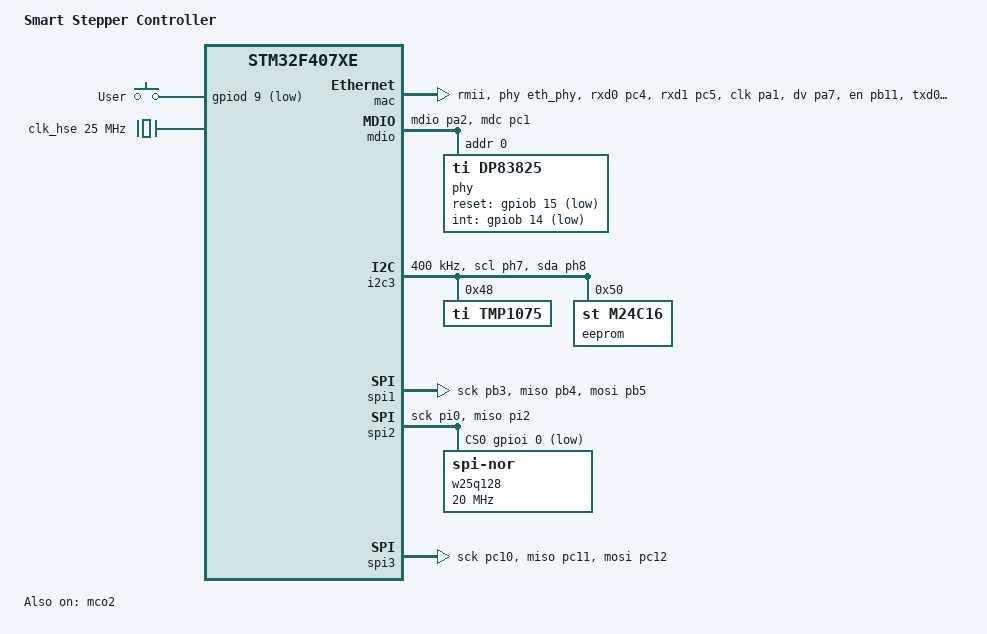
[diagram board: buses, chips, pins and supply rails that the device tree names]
/*
 * Copyright (c) 2021 Nordic Semiconductor ASA
 * SPDX-License-Identifier: Apache-2.0
 */

 /dts-v1/;
 #include <st/f4/stm32f407Xe.dtsi>

/ {
	model = "Smart Stepper Controller";
	compatible = "rubus,smartchopper";

	chosen {
		zephyr,console = &uart0;
		zephyr,sram = &sram0;
		zephyr,flash = &flash0;
		zephyr,ccm = &ccm0;
		// zephyr,canbus = &can1;
	};

	gpio_keys {
		compatible = "gpio-keys";
		user_button: button {
			label = "User";
			gpios = <&gpiod 9 (GPIO_ACTIVE_LOW | GPIO_PULL_UP)>;
			zephyr,code = <INPUT_KEY_0>;
		};
	};

	aliases {
		watchdog0 = &iwdg;
		sw0 = &user_button;
	};
};

&clk_lsi {
	status = "okay";
};

&clk_hse {
	clock-frequency = <DT_FREQ_M(25)>;
	status = "okay";
};

&pll {
	div-m = <25>;
	mul-n = <336>;
	div-p = <2>;
	div-q = <7>;
	clocks = <&clk_hse>;
	status = "okay";
};

&rcc {
	clocks = <&pll>;
	clock-frequency = <DT_FREQ_M(168)>;
	ahb-prescaler = <1>;
	apb1-prescaler = <4>;
	apb2-prescaler = <2>;
};

&mco2 {
	clocks = <&rcc STM32_SRC_HSE MCO2_SEL(2)>;
	prescaler = <MCO2_PRE(MCO_PRE_DIV_1)>;
	pinctrl-0 = <&rcc_mco_2_pc9>;
	pinctrl-names = "default";
	status = "okay";
};

&dma2 {
	status = "okay";
};

&mac {
	status = "okay";
	pinctrl-0 = <&eth_rxd0_pc4
		     &eth_rxd1_pc5
		     &eth_ref_clk_pa1
		     &eth_crs_dv_pa7
		     &eth_tx_en_pb11
		     &eth_txd0_pb12
		     &eth_txd1_pb13>;
	pinctrl-names = "default";
	phy-connection-type = "rmii";
	phy-handle = <&eth_phy>;
};

&mdio {
	status = "okay";
	pinctrl-0 = <&eth_mdio_pa2 &eth_mdc_pc1>;
	pinctrl-names = "default";

	phy: phy@0 {
		status = "okay";
		compatible = "ti,dp83825";
		reg = <0>;
		reset-gpios = <&gpiob 15 GPIO_ACTIVE_LOW>;
		int-gpios = <&gpiob 14 GPIO_ACTIVE_LOW>;
		ti,interface-type = "rmii";
	};
};

&i2c1 {
	pinctrl-0 = <&i2c1_scl_pb8 &i2c1_sda_pb9>;
	pinctrl-names = "default";
	clock-frequency = <I2C_BITRATE_FAST>;
	status = "disabled";
};

&i2c3 {
	pinctrl-0 = <&i2c1_scl_ph7 &i2c1_sda_ph8>;
	pinctrl-names = "default";
	status = "okay";
	clock-frequency = <I2C_BITRATE_FAST>;

	tmp1075: tmp1075@48 {
		compatible = "ti,tmp1075";
		reg = <0x48>;
		conversion-rate = <220000>;
	};

	eeprom: eeprom@50 {
		compatible = "st,m24c16", "st,m24xxx", "atmel,at24";
		reg = <0x50>;
		size = <DT_SIZE_K(2)>;
		pagesize = <16>;
		address-width = <8>;
		timeout = <5>;
	};

};

&usart1 {
	pinctrl-0 = <&usart1_tx_pb6 &usart1_rx_pb7>;
	pinctrl-names = "default";
	current-speed = <115200>;
	status = "disabled";
};

&spi1 {
	pinctrl-0 = <&spi1_sck_pb3 &spi1_miso_pb4 &spi1_mosi_pb5>;
	pinctrl-names = "default";
	cs-gpios = <&gpioa 4 (GPIO_ACTIVE_LOW | GPIO_PULL_UP)>;
	status = "okay";
};

&spi2 {
	pinctrl-0 = <&spi1_sck_pi0 &spi1_miso_pi2 &spi1_mosi_i3>;
	pinctrl-names = "default";
	cs-gpios = <&gpioi 0 (GPIO_ACTIVE_LOW | GPIO_PULL_UP)>;
	status = "okay";

	w25q128: w25q128@0 {
		compatible ="jedec,spi-nor";
		size = <DT_SIZE_M(16)>;
		reg = <0>;
		spi-max-frequency = <DT_FREQ_M(20)>;
		status = "okay";
		jedec-id = [ef 40 18];
	};
};

&spi3 {
	pinctrl-0 = <&spi1_sck_pc10 &spi1_miso_pc11 &spi1_mosi_pc12>;
	pinctrl-names = "default";
	cs-gpios = <&gpioa 15 (GPIO_ACTIVE_LOW | GPIO_PULL_UP)>;
	status = "okay";
};

&can1 {
	pinctrl-0 = <&can1_rx_pb8 &can1_tx_pb9>;
	pinctrl-names = "default";
	status = "disabled";
};

zephyr_udc0: &usbotg_fs {
	pinctrl-0 = <&usb_otg_fs_dm_pa11 &usb_otg_fs_dp_pa12>;
	pinctrl-names = "default";
	status = "disabled";
};

// vinsense {
// 	compatible = "voltage-divider";
// 	io-channels = <&adc1 10>;
// 	output-ohms = <191000>;
// 	full-ohms = <(191000 + 10000)>;
// };

&flash0 {
	partitions {
		compatible = "fixed-partitions";
		#address-cells = <1>;
		#size-cells = <1>;

		/* Set 8Kb of storage at the end of the 512KB of flash */
		storage_partition: partition@7e000 {
			label = "storage";
			reg = <0x0007e000 0x00002000>;
		};
	};
};
